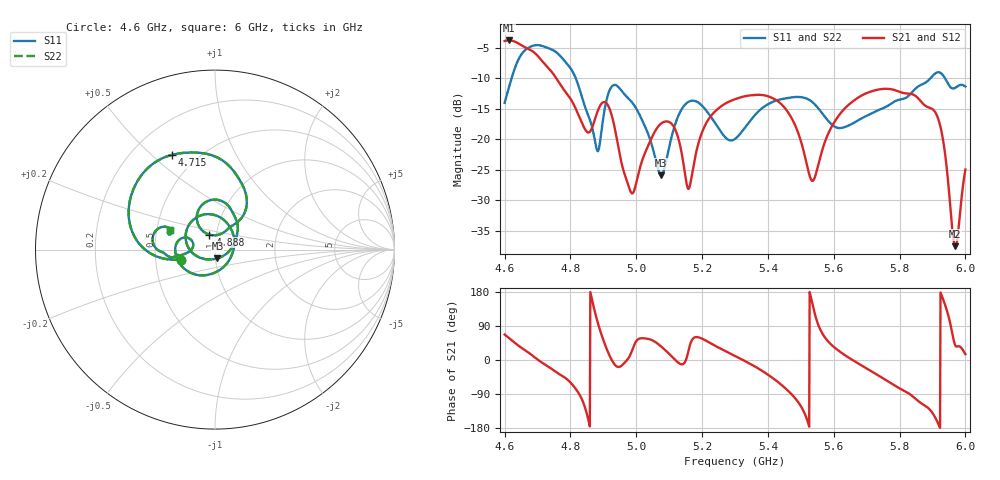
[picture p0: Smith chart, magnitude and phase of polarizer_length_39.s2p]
! TOUCHSTONE file generated by CST MICROWAVE STUDIO
! Date and time: Sun Dec  1 17:16:55 2024
! Project name: test_tuning.cst
! Parameters = {airCoaxOuterDiameter=3; chamferAngle=45; chamferWidth=24; connectorLength=10; drillingHoleDiameter=4.1; feedLength=60; flareDiameter=130; flareLength=70; gratingDistance=0; gratingGap=1.90274; outletLength=30; polarizerLength=140; probe1Diameter=1.3; probe1Distance=14; probe1Length=1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
! Header version: 2024
! Port assignment regex: !\s*Touchstone port\s*([0-9]+)\s*=\s*(CST MWS port|CST DES external port|CST DES block port)\s*(.+)\s* \(\"(.*)\"\)(\s*mode\s*([0-9]+))?.*
! Touchstone port assignment:
! Touchstone port 1 = CST MWS port 1 ("Input1")
! Touchstone port 2 = CST MWS port 2 ("Input2")
# GHz S MA R 50
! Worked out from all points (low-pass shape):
!   1001 points, 4.6 GHz to 6 GHz, reference 50 ohm
!   highest |S21| = -3.82 dB at 4.614 GHz (marker M1); lowest = -37.5 dB at 5.969 GHz (marker M2)
!   |S21| within 3 dB of the highest: start of sweep to 4.708 GHz
!   lowest |S11| = -25.9 dB at 5.076 GHz (marker M3), VSWR 1.11, Z = 51.2 - j5 ohm
!   |S11| at or under -10 dB: start of sweep to 4.621354 GHz; 4.816 GHz to 5.894 GHz (1.078 GHz wide, 20.1 % of centre); 5.938 GHz to end of sweep
!   |S22| runs from -25.9 to -4.6 dB; largest |S21 - S12| = 1.1e-06
!   S11 on the Smith chart (normalised r, x): 4.6 GHz: 0.68, -0.08; 4.715 GHz: 0.37, +0.58; 4.888 GHz: 0.93, +0.16; 6 GHz: 0.59, +0.14
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4.6  0.1988 -163.4  0.6371 67.1  0.6371 67.1  0.1988 -163.4
4.614  0.2704 -168.5  0.6439 57.5  0.6439 57.5  0.2704 -168.5
4.6602  0.5295 155.3  0.5696 27.0  0.5696 27.0  0.5295 155.3
4.7148  0.58 114.5  0.4341 -7.6  0.4341 -7.6  0.58 114.5
4.8338  0.2265 50.0  0.1378 -101.8  0.1378 -101.8  0.2265 50.0
4.8884  0.08878 110.2  0.1844 83.0  0.1844 83.0  0.08878 110.2
4.9248  0.2686 101.7  0.159 1.1  0.159 1.1  0.2686 101.7
4.9864  0.2014 53.5  0.0361 23.2  0.0361 23.2  0.2014 53.5
5.0676  0.05547 -43.5  0.128 41.3  0.128 41.3  0.05547 -43.5
5.076  0.05063 -74.2  0.1347 35.3  0.1347 35.3  0.05063 -74.2
5.1194  0.1354 -176.7  0.1184 -0.7  0.1184 -0.7  0.1354 -176.7
5.1586  0.2023 133.0  0.03914 24.0  0.03914 24.0  0.2023 133.0
5.2118  0.1728 73.6  0.1342 51.0  0.1342 51.0  0.1728 73.6
5.3  0.1005 -45.9  0.2125 10.6  0.2125 10.6  0.1005 -45.9
5.4442  0.2137 -162.6  0.1896 -67.9  0.1896 -67.9  0.2137 -162.6
5.5338  0.2028 163.2  0.04569 154.0  0.04569 154.0  0.2028 163.2
5.6248  0.1238 173.1  0.1683 18.2  0.1683 18.2  0.1238 173.1
5.7676  0.1902 -170.7  0.2581 -58.0  0.2581 -58.0  0.1902 -170.7
5.9132  0.3515 171.4  0.1571 -160.1  0.1571 -160.1  0.3515 171.4
5.9356  0.3234 157.2  0.0857 152.4  0.0857 152.4  0.3234 157.2
5.9692  0.2635 161.3  0.0133 38.8  0.0133 38.8  0.2635 161.3
6  0.2702 156.6  0.05644 15.3  0.05644 15.3  0.2702 156.6
